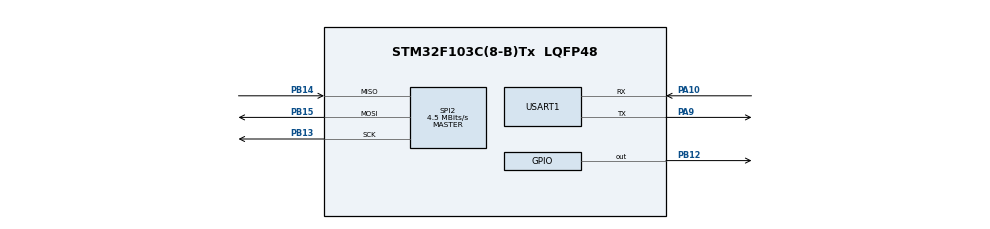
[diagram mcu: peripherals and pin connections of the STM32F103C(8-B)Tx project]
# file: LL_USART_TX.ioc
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Mcu.Family=STM32F1
Mcu.Name=STM32F103C(8-B)Tx
Mcu.Package=LQFP48
NVIC.PriorityGroup=NVIC_PRIORITYGROUP_4
PA10.Mode=Asynchronous
PA10.Signal=USART1_RX
PA13.Mode=Serial_Wire
PA13.Signal=SYS_JTMS-SWDIO
PA14.Mode=Serial_Wire
PA14.Signal=SYS_JTCK-SWCLK
PA9.Mode=Asynchronous
PA9.Signal=USART1_TX
PB12.GPIO_Speed=GPIO_SPEED_FREQ_MEDIUM
PB12.Signal=GPIO_Output
PB13.Mode=Full_Duplex_Master
PB13.Signal=SPI2_SCK
PB14.Mode=Full_Duplex_Master
PB14.Signal=SPI2_MISO
PB15.Mode=Full_Duplex_Master
PB15.Signal=SPI2_MOSI
PD0-OSC_IN.Mode=HSE-External-Oscillator
PD0-OSC_IN.Signal=RCC_OSC_IN
PD1-OSC_OUT.Mode=HSE-External-Oscillator
PD1-OSC_OUT.Signal=RCC_OSC_OUT
ProjectManager.HeapSize=0x200
ProjectManager.StackSize=0x400
ProjectManager.TargetToolchain=MDK-ARM V5
RCC.AHBFreq_Value=72000000
RCC.APB1CLKDivider=RCC_HCLK_DIV2
RCC.APB1Freq_Value=36000000
RCC.APB1TimFreq_Value=72000000
RCC.APB2Freq_Value=72000000
RCC.APB2TimFreq_Value=72000000
RCC.HCLKFreq_Value=72000000
RCC.PLLMUL=RCC_PLL_MUL9
RCC.PLLSourceVirtual=RCC_PLLSOURCE_HSE
RCC.SYSCLKFreq_VALUE=72000000
RCC.SYSCLKSource=RCC_SYSCLKSOURCE_PLLCLK
RCC.USBFreq_Value=72000000
SPI2.BaudRatePrescaler=SPI_BAUDRATEPRESCALER_8
SPI2.CalculateBaudRate=4.5 MBits/s
SPI2.DataSize=SPI_DATASIZE_16BIT
SPI2.Direction=SPI_DIRECTION_2LINES
SPI2.Mode=SPI_MODE_MASTER
SPI2.VirtualType=VM_MASTER
USART1.VirtualMode=VM_ASYNC
board=custom

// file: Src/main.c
/* USER CODE BEGIN Header */
/**
  ******************************************************************************
  * @file           : main.c
  * @brief          : Main program body
  ******************************************************************************
  * @attention
  *
  * <h2><center>&copy; Copyright (c) 2019 STMicroelectronics.
  * All rights reserved.</center></h2>
  *
  * This software component is licensed by ST under BSD 3-Clause license,
  * the "License"; You may not use this file except in compliance with the
  * License. You may obtain a copy of the License at:
  *                        opensource.org/licenses/BSD-3-Clause
  *
  ******************************************************************************
  */
/* USER CODE END Header */

#include "main.h"

/* USER CODE BEGIN Includes */
#include <stdio.h>
#include "max7219.h"
/* USER CODE END Includes */

/* USER CODE BEGIN PV */
char str1[30];
/* USER CODE END PV */

void SystemClock_Config(void);
static void MX_GPIO_Init(void);
static void MX_SPI2_Init(void);
static void MX_USART1_UART_Init(void);

/* USER CODE BEGIN 0 */
void USART_TX (uint8_t* dt, uint16_t sz)
{
  uint16_t ind = 0;
  while (ind<sz)
  {
    while (!LL_USART_IsActiveFlag_TXE(USART1)) {}
    LL_USART_TransmitData8(USART1,*(uint8_t*)(dt+ind));
    ind++;
  }
}
/* USER CODE END 0 */

int main(void)
{
  /* USER CODE BEGIN 1 */
  uint16_t i=0;
  /* USER CODE END 1 */

  /* MCU Configuration--------------------------------------------------------*/

  /* Reset of all peripherals, Initializes the Flash interface and the Systick. */

  LL_APB2_GRP1_EnableClock(LL_APB2_GRP1_PERIPH_AFIO);
  LL_APB1_GRP1_EnableClock(LL_APB1_GRP1_PERIPH_PWR);

  NVIC_SetPriorityGrouping(NVIC_PRIORITYGROUP_4);

  /* System interrupt init*/

  /** NOJTAG: JTAG-DP Disabled and SW-DP Enabled
  */
  LL_GPIO_AF_Remap_SWJ_NOJTAG();

  /* Configure the system clock */
  SystemClock_Config();

  /* Initialize all configured peripherals */
  MX_GPIO_Init();
  MX_SPI2_Init();
  MX_USART1_UART_Init();
  /* USER CODE BEGIN 2 */
  LL_mDelay(100);
  LL_GPIO_SetOutputPin(GPIOB, LL_GPIO_PIN_12);
  LL_SPI_Enable(SPI2);
  Init_7219();
  Number_7219(87654321);
  LL_mDelay(2000);
  Clear_7219();
  /* USER CODE END 2 */

  /* Infinite loop */
  while (1)
  {

    /* USER CODE BEGIN 3 */
    if(i>1023) i=0;
    sprintf(str1,"String %04d\r\n",i);
    USART_TX((uint8_t*)str1,13);
    NumberR_7219(i);
    LL_mDelay(100);
    i++;
  }
  /* USER CODE END 3 */
}

void SystemClock_Config(void)
{
  LL_FLASH_SetLatency(LL_FLASH_LATENCY_2);

   if(LL_FLASH_GetLatency() != LL_FLASH_LATENCY_2)
  {
    Error_Handler();
  }
  LL_RCC_HSE_Enable();

   /* Wait till HSE is ready */
  while(LL_RCC_HSE_IsReady() != 1)
  {

  }
  LL_RCC_PLL_ConfigDomain_SYS(LL_RCC_PLLSOURCE_HSE_DIV_1, LL_RCC_PLL_MUL_9);
  LL_RCC_PLL_Enable();

   /* Wait till PLL is ready */
  while(LL_RCC_PLL_IsReady() != 1)
  {

  }
  LL_RCC_SetAHBPrescaler(LL_RCC_SYSCLK_DIV_1);
  LL_RCC_SetAPB1Prescaler(LL_RCC_APB1_DIV_2);
  LL_RCC_SetAPB2Prescaler(LL_RCC_APB2_DIV_1);
  LL_RCC_SetSysClkSource(LL_RCC_SYS_CLKSOURCE_PLL);

   /* Wait till System clock is ready */
  while(LL_RCC_GetSysClkSource() != LL_RCC_SYS_CLKSOURCE_STATUS_PLL)
  {

  }
  LL_Init1msTick(72000000);
  LL_SYSTICK_SetClkSource(LL_SYSTICK_CLKSOURCE_HCLK);
  LL_SetSystemCoreClock(72000000);
}

static void MX_SPI2_Init(void)
{

  LL_SPI_InitTypeDef SPI_InitStruct = {0};

  LL_GPIO_InitTypeDef GPIO_InitStruct = {0};

  /* Peripheral clock enable */
  LL_APB1_GRP1_EnableClock(LL_APB1_GRP1_PERIPH_SPI2);

  LL_APB2_GRP1_EnableClock(LL_APB2_GRP1_PERIPH_GPIOB);
  /**SPI2 GPIO Configuration
  PB13   ------> SPI2_SCK
  PB14   ------> SPI2_MISO
  PB15   ------> SPI2_MOSI
  */
  GPIO_InitStruct.Pin = LL_GPIO_PIN_13|LL_GPIO_PIN_15;
  GPIO_InitStruct.Mode = LL_GPIO_MODE_ALTERNATE;
  GPIO_InitStruct.Speed = LL_GPIO_SPEED_FREQ_HIGH;
  GPIO_InitStruct.OutputType = LL_GPIO_OUTPUT_PUSHPULL;
  LL_GPIO_Init(GPIOB, &GPIO_InitStruct);

  GPIO_InitStruct.Pin = LL_GPIO_PIN_14;
  GPIO_InitStruct.Mode = LL_GPIO_MODE_FLOATING;
  LL_GPIO_Init(GPIOB, &GPIO_InitStruct);

  /* SPI2 parameter configuration*/
  SPI_InitStruct.TransferDirection = LL_SPI_FULL_DUPLEX;
  SPI_InitStruct.Mode = LL_SPI_MODE_MASTER;
  SPI_InitStruct.DataWidth = LL_SPI_DATAWIDTH_16BIT;
  SPI_InitStruct.ClockPolarity = LL_SPI_POLARITY_LOW;
  SPI_InitStruct.ClockPhase = LL_SPI_PHASE_1EDGE;
  SPI_InitStruct.NSS = LL_SPI_NSS_SOFT;
  SPI_InitStruct.BaudRate = LL_SPI_BAUDRATEPRESCALER_DIV8;
  SPI_InitStruct.BitOrder = LL_SPI_MSB_FIRST;
  SPI_InitStruct.CRCCalculation = LL_SPI_CRCCALCULATION_DISABLE;
  SPI_InitStruct.CRCPoly = 10;
  LL_SPI_Init(SPI2, &SPI_InitStruct);

}

static void MX_USART1_UART_Init(void)
{

  LL_USART_InitTypeDef USART_InitStruct = {0};

  LL_GPIO_InitTypeDef GPIO_InitStruct = {0};

  /* Peripheral clock enable */
  LL_APB2_GRP1_EnableClock(LL_APB2_GRP1_PERIPH_USART1);

  LL_APB2_GRP1_EnableClock(LL_APB2_GRP1_PERIPH_GPIOA);
  /**USART1 GPIO Configuration
  PA9   ------> USART1_TX
  PA10   ------> USART1_RX
  */
  GPIO_InitStruct.Pin = LL_GPIO_PIN_9;
  GPIO_InitStruct.Mode = LL_GPIO_MODE_ALTERNATE;
  GPIO_InitStruct.Speed = LL_GPIO_SPEED_FREQ_HIGH;
  GPIO_InitStruct.OutputType = LL_GPIO_OUTPUT_PUSHPULL;
  LL_GPIO_Init(GPIOA, &GPIO_InitStruct);

  GPIO_InitStruct.Pin = LL_GPIO_PIN_10;
  GPIO_InitStruct.Mode = LL_GPIO_MODE_FLOATING;
  LL_GPIO_Init(GPIOA, &GPIO_InitStruct);

  USART_InitStruct.BaudRate = 115200;
  USART_InitStruct.DataWidth = LL_USART_DATAWIDTH_8B;
  USART_InitStruct.StopBits = LL_USART_STOPBITS_1;
  USART_InitStruct.Parity = LL_USART_PARITY_NONE;
  USART_InitStruct.TransferDirection = LL_USART_DIRECTION_TX_RX;
  USART_InitStruct.HardwareFlowControl = LL_USART_HWCONTROL_NONE;
  LL_USART_Init(USART1, &USART_InitStruct);
  LL_USART_ConfigAsyncMode(USART1);
  LL_USART_Enable(USART1);

}

static void MX_GPIO_Init(void)
{
  LL_GPIO_InitTypeDef GPIO_InitStruct = {0};

  /* GPIO Ports Clock Enable */
  LL_APB2_GRP1_EnableClock(LL_APB2_GRP1_PERIPH_GPIOD);
  LL_APB2_GRP1_EnableClock(LL_APB2_GRP1_PERIPH_GPIOB);
  LL_APB2_GRP1_EnableClock(LL_APB2_GRP1_PERIPH_GPIOA);

  /**/
  LL_GPIO_ResetOutputPin(GPIOB, LL_GPIO_PIN_12);

  /**/
  GPIO_InitStruct.Pin = LL_GPIO_PIN_12;
  GPIO_InitStruct.Mode = LL_GPIO_MODE_OUTPUT;
  GPIO_InitStruct.Speed = LL_GPIO_SPEED_FREQ_MEDIUM;
  GPIO_InitStruct.OutputType = LL_GPIO_OUTPUT_PUSHPULL;
  LL_GPIO_Init(GPIOB, &GPIO_InitStruct);

}

void Error_Handler(void)
{
}

/************************ (C) COPYRIGHT STMicroelectronics *****END OF FILE****/
